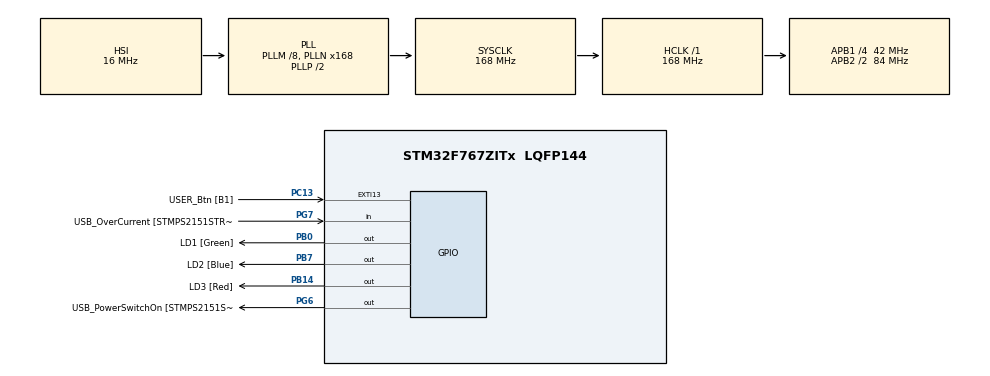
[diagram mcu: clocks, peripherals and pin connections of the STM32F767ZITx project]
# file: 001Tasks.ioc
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Mcu.Family=STM32F7
Mcu.Name=STM32F767ZITx
Mcu.Package=LQFP144
NVIC.PriorityGroup=NVIC_PRIORITYGROUP_4
NVIC.TIM6_DAC_IRQn=true\:15\:0\:false\:false\:true\:false\:true\:true
NVIC.TimeBase=TIM6_DAC_IRQn
NVIC.TimeBaseIP=TIM6
PA1.GPIO_Label=RMII_REF_CLK [LAN8742A-CZ-TR_REFCLK0]
PA1.Signal=ETH_REF_CLK
PA10.GPIO_Label=USB_ID
PA10.Signal=USB_OTG_FS_ID
PA11.GPIO_Label=USB_DM
PA11.Signal=USB_OTG_FS_DM
PA12.GPIO_Label=USB_DP
PA12.Signal=USB_OTG_FS_DP
PA13.GPIO_Label=TMS
PA13.Signal=SYS_JTMS-SWDIO
PA14.GPIO_Label=TCK
PA14.Signal=SYS_JTCK-SWCLK
PA2.GPIO_Label=RMII_MDIO [LAN8742A-CZ-TR_MDIO]
PA2.Signal=ETH_MDIO
PA7.GPIO_Label=RMII_CRS_DV [LAN8742A-CZ-TR_CRS_DV]
PA7.Signal=ETH_CRS_DV
PA8.GPIO_Label=USB_SOF [TP1]
PA8.Signal=USB_OTG_FS_SOF
PA9.GPIO_Label=USB_VBUS
PA9.Signal=USB_OTG_FS_VBUS
PB0.GPIO_Label=LD1 [Green]
PB0.Signal=GPIO_Output
PB13.GPIO_Label=RMII_TXD1 [LAN8742A-CZ-TR_TXD1]
PB13.Signal=ETH_TXD1
PB14.GPIO_Label=LD3 [Red]
PB14.Signal=GPIO_Output
PB3.GPIO_Label=SW0
PB3.Signal=SYS_JTDO-SWO
PB7.GPIO_Label=LD2 [Blue]
PB7.Signal=GPIO_Output
PC1.GPIO_Label=RMII_MDC [LAN8742A-CZ-TR_MDC]
PC1.Signal=ETH_MDC
PC13.GPIO_Label=USER_Btn [B1]
PC13.Signal=GPXTI13
PC14/OSC32_IN.Signal=RCC_OSC32_IN
PC15/OSC32_OUT.Signal=RCC_OSC32_OUT
PC4.GPIO_Label=RMII_RXD0 [LAN8742A-CZ-TR_RXD0]
PC4.Signal=ETH_RXD0
PC5.GPIO_Label=RMII_RXD1 [LAN8742A-CZ-TR_RXD1]
PC5.Signal=ETH_RXD1
PD8.GPIO_Label=STLK_RX [STM32F103CBT6_PA3]
PD8.Signal=USART3_TX
PD9.GPIO_Label=STLK_TX [STM32F103CBT6_PA2]
PD9.Signal=USART3_RX
PG11.GPIO_Label=RMII_TX_EN [LAN8742A-CZ-TR_TXEN]
PG11.Signal=ETH_TX_EN
PG13.GPIO_Label=RMII_TXD0 [LAN8742A-CZ-TR_TXD0]
PG13.Signal=ETH_TXD0
PG6.GPIO_Label=USB_PowerSwitchOn [STMPS2151STR_EN]
PG6.Signal=GPIO_Output
PG7.GPIO_Label=USB_OverCurrent [STMPS2151STR_FAULT]
PG7.Signal=GPIO_Input
PH0/OSC_IN.GPIO_Label=MCO [STM32F103CBT6_PA8]
PH0/OSC_IN.Signal=RCC_OSC_IN
PH1/OSC_OUT.Signal=RCC_OSC_OUT
ProjectManager.HeapSize=0x200
ProjectManager.StackSize=0x400
ProjectManager.TargetToolchain=STM32CubeIDE
RCC.48MHZClocksFreq_Value=24000000
RCC.AHBFreq_Value=168000000
RCC.APB1CLKDivider=RCC_HCLK_DIV4
RCC.APB1Freq_Value=42000000
RCC.APB1TimFreq_Value=84000000
RCC.APB2CLKDivider=RCC_HCLK_DIV2
RCC.APB2Freq_Value=84000000
RCC.APB2TimFreq_Value=168000000
RCC.CortexFreq_Value=168000000
RCC.HCLKFreq_Value=168000000
RCC.HSE_VALUE=16000000
RCC.HSI_VALUE=16000000
RCC.LSE_VALUE=32768
RCC.PLLM=8
RCC.PLLMUL=RCC_PLL_MUL9
RCC.PLLN=168
RCC.PLLQ=7
RCC.PRESCALERUSB=RCC_USBCLKSOURCE_PLL_DIV1_5
RCC.SYSCLKFreq_VALUE=168000000
RCC.SYSCLKSource=RCC_SYSCLKSOURCE_PLLCLK
RCC.SYSCLKSourceVirtual=RCC_SYSCLKSOURCE_PLLCLK
RCC.USBFreq_Value=48000000
RCC.VCOOutputFreq_Value=336000000
VP_SYS_VS_tim6.Mode=TIM6
board=NUCLEO-F767ZI

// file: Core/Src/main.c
/* USER CODE BEGIN Header */
/**
  ******************************************************************************
  * @file           : main.c
  * @brief          : Main program body
  ******************************************************************************
  * @attention
  *
  * Copyright (c) 2024 STMicroelectronics.
  * All rights reserved.
  *
  * This software is licensed under terms that can be found in the LICENSE file
  * in the root directory of this software component.
  * If no LICENSE file comes with this software, it is provided AS-IS.
  *
  ******************************************************************************
  */
/* USER CODE END Header */
#include "main.h"

/* USER CODE BEGIN Includes */

#include "../../Third party/FreeRTOS/include/FreeRTOS.h"
#include "../../Third party/FreeRTOS/include/task.h"
#include <stdio.h>
/* USER CODE END Includes */

void SystemClock_Config(void);
static void MX_GPIO_Init(void);
/* USER CODE BEGIN PFP */
static void task1_Handler(void* Parameters);
static void task2_Handler(void* Parameters);
/* USER CODE END PFP */

/* USER CODE BEGIN 0 */
extern void SEGGER_UART_init(U32 baud);
/* USER CODE END 0 */

int main(void)
{

  /* USER CODE BEGIN 1 */
	TaskHandle_t task1_handle;
	TaskHandle_t task2_handle;
	BaseType_t status;
  /* USER CODE END 1 */

  /* MCU Configuration--------------------------------------------------------*/

  /* Reset of all peripherals, Initializes the Flash interface and the Systick. */
  HAL_Init();

  /* Configure the system clock */
  SystemClock_Config();

  /* Initialize all configured peripherals */
  MX_GPIO_Init();
  /* USER CODE BEGIN 2 */
  // Enable the CYCCNT counter
  CoreDebug->DEMCR |= CoreDebug_DEMCR_TRCENA_Msk;
  DWT->LAR = 0xC5ACCE55;
  DWT->CYCCNT = 0;
  DWT->CTRL |= DWT_CTRL_CYCCNTENA_Msk;

  SEGGER_UART_init(500000);
  SEGGER_SYSVIEW_Conf();
  //SEGGER_SYSVIEW_Start();
  status=  xTaskCreate(task1_Handler, "Task1", 200, "Hello world from Task-1", 2,&task1_handle);
  configASSERT(status == pdPASS);
  status=  xTaskCreate(task2_Handler, "Task2", 200, "Hello world from Task-2", 2,&task2_handle);
  configASSERT(status == pdPASS);
  vTaskStartScheduler();
  /* USER CODE END 2 */

  /* Infinite loop */
  while (1)
  {

  }
}

void SystemClock_Config(void)
{
  RCC_OscInitTypeDef RCC_OscInitStruct = {0};
  RCC_ClkInitTypeDef RCC_ClkInitStruct = {0};

  /** Configure the main internal regulator output voltage
  */
  __HAL_RCC_PWR_CLK_ENABLE();
  __HAL_PWR_VOLTAGESCALING_CONFIG(PWR_REGULATOR_VOLTAGE_SCALE2);

  /** Initializes the RCC Oscillators according to the specified parameters
  * in the RCC_OscInitTypeDef structure.
  */
  RCC_OscInitStruct.OscillatorType = RCC_OSCILLATORTYPE_HSI;
  RCC_OscInitStruct.HSIState = RCC_HSI_ON;
  RCC_OscInitStruct.HSICalibrationValue = RCC_HSICALIBRATION_DEFAULT;
  RCC_OscInitStruct.PLL.PLLState = RCC_PLL_ON;
  RCC_OscInitStruct.PLL.PLLSource = RCC_PLLSOURCE_HSI;
  RCC_OscInitStruct.PLL.PLLM = 8;
  RCC_OscInitStruct.PLL.PLLN = 168;
  RCC_OscInitStruct.PLL.PLLP = RCC_PLLP_DIV2;
  RCC_OscInitStruct.PLL.PLLQ = 7;
  RCC_OscInitStruct.PLL.PLLR = 2;
  if (HAL_RCC_OscConfig(&RCC_OscInitStruct) != HAL_OK)
  {
    Error_Handler();
  }

  /** Initializes the CPU, AHB and APB buses clocks
  */
  RCC_ClkInitStruct.ClockType = RCC_CLOCKTYPE_HCLK|RCC_CLOCKTYPE_SYSCLK
                              |RCC_CLOCKTYPE_PCLK1|RCC_CLOCKTYPE_PCLK2;
  RCC_ClkInitStruct.SYSCLKSource = RCC_SYSCLKSOURCE_PLLCLK;
  RCC_ClkInitStruct.AHBCLKDivider = RCC_SYSCLK_DIV1;
  RCC_ClkInitStruct.APB1CLKDivider = RCC_HCLK_DIV4;
  RCC_ClkInitStruct.APB2CLKDivider = RCC_HCLK_DIV2;

  if (HAL_RCC_ClockConfig(&RCC_ClkInitStruct, FLASH_LATENCY_5) != HAL_OK)
  {
    Error_Handler();
  }
}

static void MX_GPIO_Init(void)
{
  GPIO_InitTypeDef GPIO_InitStruct = {0};

  /* GPIO Ports Clock Enable */
  __HAL_RCC_GPIOC_CLK_ENABLE();
  __HAL_RCC_GPIOH_CLK_ENABLE();
  __HAL_RCC_GPIOA_CLK_ENABLE();
  __HAL_RCC_GPIOB_CLK_ENABLE();
  __HAL_RCC_GPIOD_CLK_ENABLE();
  __HAL_RCC_GPIOG_CLK_ENABLE();

  /*Configure GPIO pin Output Level */
  HAL_GPIO_WritePin(GPIOB, LD1_Pin|LD3_Pin|LD2_Pin, GPIO_PIN_RESET);

  /*Configure GPIO pin Output Level */
  HAL_GPIO_WritePin(USB_PowerSwitchOn_GPIO_Port, USB_PowerSwitchOn_Pin, GPIO_PIN_RESET);

  /*Configure GPIO pin : USER_Btn_Pin */
  GPIO_InitStruct.Pin = USER_Btn_Pin;
  GPIO_InitStruct.Mode = GPIO_MODE_IT_RISING;
  GPIO_InitStruct.Pull = GPIO_NOPULL;
  HAL_GPIO_Init(USER_Btn_GPIO_Port, &GPIO_InitStruct);

  /*Configure GPIO pins : RMII_MDC_Pin RMII_RXD0_Pin RMII_RXD1_Pin */
  GPIO_InitStruct.Pin = RMII_MDC_Pin|RMII_RXD0_Pin|RMII_RXD1_Pin;
  GPIO_InitStruct.Mode = GPIO_MODE_AF_PP;
  GPIO_InitStruct.Pull = GPIO_NOPULL;
  GPIO_InitStruct.Speed = GPIO_SPEED_FREQ_VERY_HIGH;
  GPIO_InitStruct.Alternate = GPIO_AF11_ETH;
  HAL_GPIO_Init(GPIOC, &GPIO_InitStruct);

  /*Configure GPIO pins : RMII_REF_CLK_Pin RMII_MDIO_Pin RMII_CRS_DV_Pin */
  GPIO_InitStruct.Pin = RMII_REF_CLK_Pin|RMII_MDIO_Pin|RMII_CRS_DV_Pin;
  GPIO_InitStruct.Mode = GPIO_MODE_AF_PP;
  GPIO_InitStruct.Pull = GPIO_NOPULL;
  GPIO_InitStruct.Speed = GPIO_SPEED_FREQ_VERY_HIGH;
  GPIO_InitStruct.Alternate = GPIO_AF11_ETH;
  HAL_GPIO_Init(GPIOA, &GPIO_InitStruct);

  /*Configure GPIO pins : LD1_Pin LD3_Pin LD2_Pin */
  GPIO_InitStruct.Pin = LD1_Pin|LD3_Pin|LD2_Pin;
  GPIO_InitStruct.Mode = GPIO_MODE_OUTPUT_PP;
  GPIO_InitStruct.Pull = GPIO_NOPULL;
  GPIO_InitStruct.Speed = GPIO_SPEED_FREQ_LOW;
  HAL_GPIO_Init(GPIOB, &GPIO_InitStruct);

  /*Configure GPIO pin : RMII_TXD1_Pin */
  GPIO_InitStruct.Pin = RMII_TXD1_Pin;
  GPIO_InitStruct.Mode = GPIO_MODE_AF_PP;
  GPIO_InitStruct.Pull = GPIO_NOPULL;
  GPIO_InitStruct.Speed = GPIO_SPEED_FREQ_VERY_HIGH;
  GPIO_InitStruct.Alternate = GPIO_AF11_ETH;
  HAL_GPIO_Init(RMII_TXD1_GPIO_Port, &GPIO_InitStruct);

  /*Configure GPIO pins : STLK_RX_Pin STLK_TX_Pin */
  GPIO_InitStruct.Pin = STLK_RX_Pin|STLK_TX_Pin;
  GPIO_InitStruct.Mode = GPIO_MODE_AF_PP;
  GPIO_InitStruct.Pull = GPIO_NOPULL;
  GPIO_InitStruct.Speed = GPIO_SPEED_FREQ_VERY_HIGH;
  GPIO_InitStruct.Alternate = GPIO_AF7_USART3;
  HAL_GPIO_Init(GPIOD, &GPIO_InitStruct);

  /*Configure GPIO pin : USB_PowerSwitchOn_Pin */
  GPIO_InitStruct.Pin = USB_PowerSwitchOn_Pin;
  GPIO_InitStruct.Mode = GPIO_MODE_OUTPUT_PP;
  GPIO_InitStruct.Pull = GPIO_NOPULL;
  GPIO_InitStruct.Speed = GPIO_SPEED_FREQ_LOW;
  HAL_GPIO_Init(USB_PowerSwitchOn_GPIO_Port, &GPIO_InitStruct);

  /*Configure GPIO pin : USB_OverCurrent_Pin */
  GPIO_InitStruct.Pin = USB_OverCurrent_Pin;
  GPIO_InitStruct.Mode = GPIO_MODE_INPUT;
  GPIO_InitStruct.Pull = GPIO_NOPULL;
  HAL_GPIO_Init(USB_OverCurrent_GPIO_Port, &GPIO_InitStruct);

  /*Configure GPIO pins : USB_SOF_Pin USB_ID_Pin USB_DM_Pin USB_DP_Pin */
  GPIO_InitStruct.Pin = USB_SOF_Pin|USB_ID_Pin|USB_DM_Pin|USB_DP_Pin;
  GPIO_InitStruct.Mode = GPIO_MODE_AF_PP;
  GPIO_InitStruct.Pull = GPIO_NOPULL;
  GPIO_InitStruct.Speed = GPIO_SPEED_FREQ_VERY_HIGH;
  GPIO_InitStruct.Alternate = GPIO_AF10_OTG_FS;
  HAL_GPIO_Init(GPIOA, &GPIO_InitStruct);

  /*Configure GPIO pin : USB_VBUS_Pin */
  GPIO_InitStruct.Pin = USB_VBUS_Pin;
  GPIO_InitStruct.Mode = GPIO_MODE_INPUT;
  GPIO_InitStruct.Pull = GPIO_NOPULL;
  HAL_GPIO_Init(USB_VBUS_GPIO_Port, &GPIO_InitStruct);

  /*Configure GPIO pins : RMII_TX_EN_Pin RMII_TXD0_Pin */
  GPIO_InitStruct.Pin = RMII_TX_EN_Pin|RMII_TXD0_Pin;
  GPIO_InitStruct.Mode = GPIO_MODE_AF_PP;
  GPIO_InitStruct.Pull = GPIO_NOPULL;
  GPIO_InitStruct.Speed = GPIO_SPEED_FREQ_VERY_HIGH;
  GPIO_InitStruct.Alternate = GPIO_AF11_ETH;
  HAL_GPIO_Init(GPIOG, &GPIO_InitStruct);

}

/* USER CODE BEGIN 4 */
void vAssertCalled( unsigned long ulLine, const char * const pcFileName )
{
//static portBASE_TYPE xPrinted = pdFALSE;
volatile uint32_t ulSetToNonZeroInDebuggerToContinue = 0;

    /* Parameters are not used. */
    ( void ) ulLine;
    ( void ) pcFileName;

    taskENTER_CRITICAL();
    {
        /* You can step out of this function to debug the assertion by using
        the debugger to set ulSetToNonZeroInDebuggerToContinue to a non-zero
        value. */
        while( ulSetToNonZeroInDebuggerToContinue == 1 )
        {
        }
    }
    taskEXIT_CRITICAL();
}
static void task1_Handler(void* parameters) {
 char message[30];
	while(1){
		snprintf(message,30,"%s\n",(char*)parameters);
		SEGGER_SYSVIEW_PrintfTarget(message);
		//printf("%s\n",(char*)parameters);
		taskYIELD();
	}
}
static void task2_Handler(void* parameters) {
	char message[30];
	while(1){
			snprintf(message,30,"%s\n",(char*)parameters);
			SEGGER_SYSVIEW_PrintfTarget(message);
			//printf("%s \n",(char*)parameters);
			taskYIELD();
		}
}

/* USER CODE END 4 */

void HAL_TIM_PeriodElapsedCallback(TIM_HandleTypeDef *htim)
{
  if (htim->Instance == TIM6) {
    HAL_IncTick();
  }
}

void Error_Handler(void)
{
  __disable_irq();
  while (1)
  {
  }
}
